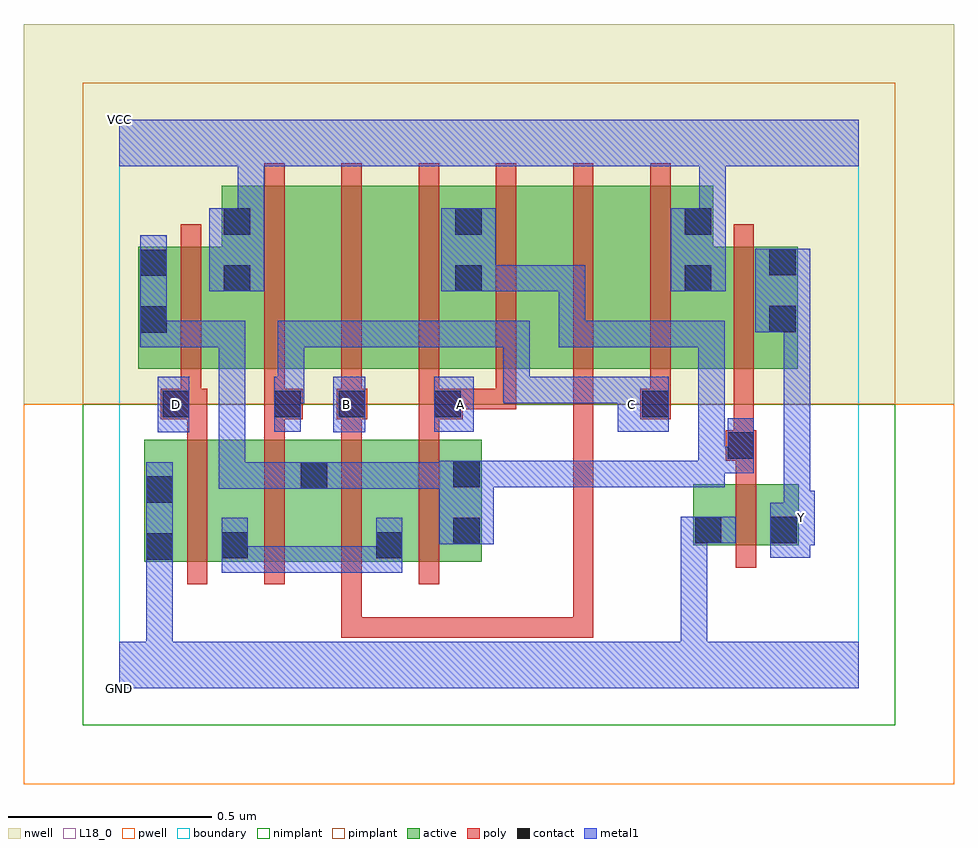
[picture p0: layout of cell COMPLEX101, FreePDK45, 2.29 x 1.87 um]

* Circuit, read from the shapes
.subckt COMPLEX101 A B C D GND VCC Y
M1 n1 D GND VSUBS nfet w=0.3u l=0.05u
M2 n2 C n1 VSUBS nfet w=0.3u l=0.05u
M3 n1 B n2 VSUBS nfet w=0.3u l=0.05u
M4 n2 A n1 VSUBS nfet w=0.3u l=0.05u
M5 Y n2 GND VSUBS nfet w=0.15u l=0.05u
M6 VCC D n2 n3 pfet w=0.3u l=0.05u
M7 n4 C VCC n3 pfet w=0.45u l=0.05u
M8 n5 B n4 n3 pfet w=0.45u l=0.05u
M9 n2 A n5 n3 pfet w=0.45u l=0.05u
M10 n6 A n2 n3 pfet w=0.45u l=0.05u
M11 n7 B n6 n3 pfet w=0.45u l=0.05u
M12 VCC C n7 n3 pfet w=0.45u l=0.05u
M13 Y n2 VCC n3 pfet w=0.3u l=0.05u
.ends

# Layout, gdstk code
import gdstk
lib = gdstk.Library(unit=1e-6, precision=1e-09)
def R(c, l, rs):  # rectangles x0, y0, x1, y1
    for r in rs: c.add(gdstk.rectangle(r[:2], r[2:], *l))
def A(c, l, x, y, w, h, nx, ny, dx, dy):  # array of equal rectangles
    R(c, l, [(x+i*dx, y+j*dy, x+i*dx+w, y+j*dy+h) for i in range(nx) for j in range(ny)])
active = (1, 0)
pwell = (2, 0)
nwell = (3, 0)
nimplant = (4, 0)
pimplant = (5, 0)
poly = (9, 0)
contact = (10, 0)
metal1 = (11, 0)
L18_0 = (18, 0)
boundary = (235, 0)

complex101 = lib.new_cell('COMPLEX101')
R(complex101, active, [(0.062,0.312,0.322,0.612), (0.062,0.312,0.137,0.612), (0.247,0.312,0.517,0.612), (0.247,0.312,0.322,0.547), (0.442,0.312,0.702,0.612), (0.627,0.312,0.892,0.612), (0.627,0.312,0.702,0.437), (0.442,0.345,0.517,0.562), (0.817,0.345,0.892,0.612), (1.412,0.352,1.487,0.502), (1.412,0.352,1.672,0.502), (1.597,0.352,1.672,0.502), (0.047,0.787,0.327,1.087), (0.047,0.787,0.122,1.085), (0.252,0.787,0.327,1.187), (0.252,0.787,0.477,1.237), (0.477,0.787,0.667,1.237), (0.667,0.787,0.897,1.237), (0.822,0.787,1.047,1.237), (1.047,0.787,1.237,1.237), (1.237,0.787,1.462,1.237), (1.387,0.787,1.67,1.087), (1.387,0.787,1.462,1.187), (1.595,0.787,1.67,1.087), (0.822,0.827,0.897,1.2)])
R(complex101, pwell, [(-0.235,-0.235,2.055,0.7)])
R(complex101, nwell, [(-0.235,0.7,2.055,1.635)])
R(complex101, nimplant, [(-0.09,-0.09,1.91,0.7)])
R(complex101, pimplant, [(-0.09,0.7,1.91,1.49)])
A(complex101, poly, 0.167, 0.257, 0.05, 0.41, 4, 1, 0.19, 0)
A(complex101, poly, 0.167, 0.617, 0.05, 0.095, 4, 1, 0.19, 0)
A(complex101, poly, 0.357, 0.687, 0.05, 0.095, 4, 1, 0.19, 0)
A(complex101, poly, 0.357, 0.732, 0.05, 0.56, 6, 1, 0.19, 0)
R(complex101, poly, [(0.547,0.125,0.597,0.175), (0.547,0.125,0.642,0.175), (0.547,0.125,0.597,0.307), (0.592,0.125,0.642,0.175), (0.592,0.125,0.775,0.175), (0.725,0.125,0.775,0.175), (0.725,0.125,0.775,0.175), (0.725,0.125,0.775,0.175), (0.725,0.125,1.035,0.175), (0.985,0.125,1.035,0.175), (0.985,0.125,1.167,0.175), (1.117,0.125,1.167,0.782), (1.117,0.125,1.167,0.175), (1.117,0.125,1.167,0.175), (1.117,0.125,1.167,0.175), (1.117,0.125,1.167,0.175), (1.117,0.125,1.167,0.175), (1.117,0.125,1.167,0.175), (1.117,0.125,1.167,0.175), (1.117,0.125,1.167,0.175), (1.117,0.125,1.167,0.175), (1.117,0.125,1.167,0.175), (1.117,0.125,1.167,0.175), (1.517,0.297,1.567,0.557), (1.517,0.507,1.567,0.61), (1.492,0.56,1.567,0.635), (1.512,0.585,1.562,0.782), (0.102,0.662,0.217,0.737), (0.357,0.662,0.452,0.737), (0.535,0.662,0.61,0.737), (0.737,0.662,0.845,0.737), (1.282,0.662,1.357,0.737), (0.152,0.687,0.202,0.782), (0.795,0.687,0.845,0.737), (0.795,0.687,0.845,0.737), (0.795,0.687,0.977,0.737), (0.927,0.687,0.977,0.737), (1.307,0.687,1.357,0.782), (0.152,0.732,0.202,1.142), (1.512,0.732,1.562,1.142)])
R(complex101, contact, [(0.067,0.317,0.132,0.382), (0.252,0.32,0.317,0.385), (0.632,0.32,0.697,0.385), (0.822,0.355,0.887,0.42), (1.417,0.357,1.482,0.422), (1.602,0.357,1.667,0.422), (0.067,0.457,0.132,0.522), (0.447,0.492,0.512,0.557), (0.822,0.495,0.887,0.56), (1.497,0.565,1.562,0.63), (0.107,0.667,0.172,0.732), (0.382,0.667,0.447,0.732), (0.54,0.667,0.605,0.732), (0.775,0.667,0.84,0.732), (1.287,0.667,1.352,0.732), (0.052,0.875,0.117,0.94), (1.6,0.877,1.665,0.942), (0.257,0.977,0.322,1.042), (0.827,0.977,0.892,1.042), (1.392,0.977,1.457,1.042), (0.052,1.015,0.117,1.08), (1.6,1.017,1.665,1.082), (0.257,1.117,0.322,1.182), (0.827,1.117,0.892,1.182), (1.392,1.117,1.457,1.182)])
R(complex101, metal1, [(0,0,1.82,0.115), (0.067,0.05,0.132,0.115), (0.067,0.05,0.132,0.115), (0.067,0.05,0.132,0.115), (0.067,0.05,0.132,0.115), (0.067,0.05,0.132,0.347), (1.382,0.05,1.447,0.115), (1.382,0.05,1.447,0.115), (1.382,0.05,1.447,0.115), (1.382,0.05,1.447,0.115), (1.382,0.05,1.447,0.422), (0.067,0.282,0.132,0.557), (0.252,0.285,0.317,0.42), (0.252,0.285,0.455,0.35), (0.39,0.285,0.455,0.35), (0.39,0.285,0.455,0.35), (0.39,0.285,0.455,0.35), (0.39,0.285,0.697,0.35), (0.632,0.285,0.697,0.35), (0.632,0.285,0.697,0.35), (0.632,0.285,0.697,0.42), (1.602,0.322,1.7,0.457), (1.635,0.352,1.7,0.417), (1.635,0.352,1.712,0.487), (0.787,0.355,0.922,0.56), (1.382,0.357,1.447,0.422), (1.382,0.357,1.447,0.422), (1.382,0.357,1.517,0.422), (1.635,0.422,1.7,0.942), (0.245,0.492,0.31,0.557), (0.245,0.492,0.31,0.557), (0.245,0.492,0.31,0.557), (0.245,0.492,0.31,0.557), (0.245,0.492,0.31,0.557), (0.245,0.492,0.477,0.557), (0.245,0.492,0.31,0.905), (0.412,0.492,0.547,0.557), (0.482,0.492,0.702,0.557), (0.637,0.492,0.702,0.557), (0.637,0.492,0.702,0.557), (0.637,0.492,0.702,0.557), (0.637,0.492,0.852,0.557), (0.787,0.492,0.852,0.557), (0.787,0.492,0.852,0.557), (0.857,0.495,1.01,0.56), (0.945,0.495,1.01,0.56), (0.945,0.495,1.147,0.56), (1.082,0.495,1.147,0.56), (1.082,0.495,1.147,0.56), (1.082,0.495,1.147,0.56), (1.082,0.495,1.285,0.56), (1.22,0.495,1.285,0.56), (1.22,0.495,1.285,0.56), (1.22,0.495,1.285,0.56), (1.22,0.495,1.49,0.56), (1.425,0.495,1.49,0.56), (1.425,0.495,1.49,0.595), (1.425,0.53,1.49,0.595), (1.425,0.53,1.562,0.595), (1.425,0.53,1.49,0.905), (1.497,0.53,1.562,0.665), (0.095,0.63,0.172,0.767), (0.527,0.63,0.605,0.767), (0.382,0.632,0.447,0.767), (0.775,0.632,0.872,0.767), (1.227,0.632,1.352,0.767), (0.382,0.702,0.455,0.767), (0.39,0.702,0.455,0.767), (0.39,0.702,0.455,0.905), (0.945,0.702,1.01,0.767), (0.945,0.702,1.01,0.767), (0.945,0.702,1.01,0.767), (0.945,0.702,1.147,0.767), (0.945,0.702,1.01,0.905), (1.082,0.702,1.147,0.767), (1.082,0.702,1.147,0.767), (1.082,0.702,1.147,0.767), (1.082,0.702,1.285,0.767), (1.22,0.702,1.285,0.767), (1.22,0.702,1.292,0.767), (0.052,0.84,0.117,0.905), (0.052,0.84,0.117,0.905), (0.052,0.84,0.31,0.905), (0.052,0.84,0.117,1.115), (0.245,0.84,0.31,0.905), (0.39,0.84,0.455,0.905), (0.39,0.84,0.702,0.905), (0.637,0.84,0.702,0.905), (0.637,0.84,0.702,0.905), (0.637,0.84,0.702,0.905), (0.637,0.84,0.84,0.905), (0.775,0.84,0.84,0.905), (0.775,0.84,1.01,0.905), (0.945,0.84,1.01,0.905), (1.082,0.84,1.147,0.905), (1.082,0.84,1.147,0.905), (1.082,0.84,1.147,0.905), (1.082,0.84,1.285,0.905), (1.082,0.84,1.147,1.042), (1.22,0.84,1.285,0.905), (1.22,0.84,1.285,0.905), (1.22,0.84,1.285,0.905), (1.22,0.84,1.49,0.905), (1.425,0.84,1.49,0.905), (1.565,0.877,1.7,1.082), (0.222,0.977,0.357,1.182), (0.792,0.977,0.927,1.182), (0.862,0.977,1.01,1.042), (0.945,0.977,1.01,1.042), (0.945,0.977,1.147,1.042), (1.082,0.977,1.147,1.042), (1.357,0.977,1.492,1.182), (0.292,1.117,0.357,1.35), (1.427,1.117,1.492,1.35), (0,1.285,1.82,1.4)])
R(complex101, L18_0, [(0,0,1.82,0.115), (0.067,0.05,0.132,0.115), (0.067,0.05,0.132,0.115), (0.067,0.05,0.132,0.115), (0.067,0.05,0.132,0.115), (0.067,0.05,0.132,0.347), (1.382,0.05,1.447,0.115), (1.382,0.05,1.447,0.115), (1.382,0.05,1.447,0.115), (1.382,0.05,1.447,0.115), (1.382,0.05,1.447,0.422), (0.067,0.282,0.132,0.557), (1.602,0.322,1.7,0.457), (1.635,0.352,1.7,0.417), (1.635,0.352,1.712,0.487), (1.382,0.357,1.447,0.422), (1.382,0.357,1.447,0.422), (1.382,0.357,1.517,0.422), (1.647,0.387,1.712,0.452), (1.635,0.422,1.7,0.942), (0.095,0.63,0.172,0.767), (0.527,0.63,0.605,0.767), (0.382,0.632,0.447,0.767), (0.775,0.632,0.872,0.767), (1.227,0.632,1.352,0.767), (0.107,0.667,0.172,0.732), (0.527,0.667,0.592,0.732), (0.807,0.667,0.872,0.732), (1.227,0.667,1.292,0.732), (0.382,0.702,0.455,0.767), (0.39,0.702,0.455,0.767), (0.39,0.702,0.455,0.905), (0.945,0.702,1.01,0.767), (0.945,0.702,1.01,0.767), (0.945,0.702,1.01,0.767), (0.945,0.702,1.01,0.905), (0.945,0.702,1.147,0.767), (1.082,0.702,1.147,0.767), (1.082,0.702,1.147,0.767), (1.082,0.702,1.147,0.767), (1.082,0.702,1.285,0.767), (1.22,0.702,1.285,0.767), (1.22,0.702,1.292,0.767), (0.39,0.84,0.455,0.905), (0.39,0.84,0.702,0.905), (0.637,0.84,0.702,0.905), (0.637,0.84,0.702,0.905), (0.637,0.84,0.702,0.905), (0.637,0.84,0.84,0.905), (0.775,0.84,0.84,0.905), (0.775,0.84,1.01,0.905), (0.945,0.84,1.01,0.905), (1.565,0.877,1.7,1.082), (0.222,0.977,0.357,1.182), (1.357,0.977,1.492,1.182), (0.292,1.117,0.357,1.35), (1.427,1.117,1.492,1.35), (0,1.285,1.82,1.4)])
R(complex101, boundary, [(0,0,1.82,1.4)])
complex101.add(gdstk.Label('A', (0.84,0.7), layer=11, texttype=0))
complex101.add(gdstk.Label('B', (0.56,0.7), layer=11, texttype=0))
complex101.add(gdstk.Label('C', (1.26,0.7), layer=11, texttype=0))
complex101.add(gdstk.Label('D', (0.14,0.7), layer=11, texttype=0))
complex101.add(gdstk.Label('Y', (1.68,0.42), layer=11, texttype=0))
complex101.add(gdstk.Label('VCC', (0,1.4), layer=11, texttype=0))
complex101.add(gdstk.Label('GND', (0,0), layer=11, texttype=0))

lib.write_gds('COMPLEX101.gds')
